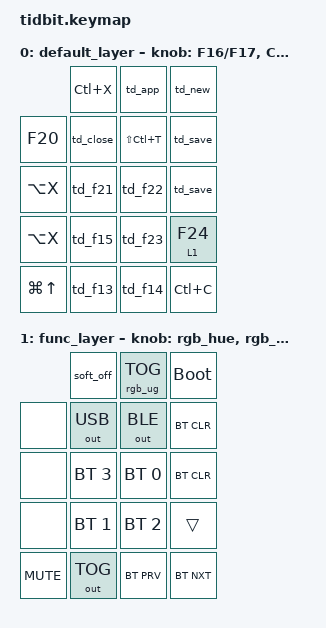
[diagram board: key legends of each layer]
/*
 * Copyright (c) 2020 The ZMK Contributors
 *
 * SPDX-License-Identifier: MIT
 */

#include <behaviors.dtsi>
#include <dt-bindings/zmk/bt.h>
#include <dt-bindings/zmk/keys.h>
#include <dt-bindings/zmk/outputs.h>
#include <dt-bindings/zmk/rgb.h>


/* Enable ONLY ONE of the &encoder_1 nodes. They are wired to the same pins.*/
&encoder_1 {
    status = "okay";
};

&encoder_2 {
    status = "okay";
};

&encoder_3 {
    status = "okay";
};

&encoder_4 {
    status = "okay";
};

/* Add any encoder(s) you have enabled to the sensors node, separated by spaces. */
&sensors {
    sensors = <&encoder_1 &encoder_2 &encoder_3 &encoder_4>;
};

/{
    behaviors {
        td_save: save {
            compatible = "zmk,behavior-tap-dance";
            #binding-cells = <0>;
            tapping-term-ms = <200>;
            bindings = <&kp LC(S)>, <&kp LC(LS(S))>, <&kp LC(LA(S))>;
        };

        td_new: new {
            compatible = "zmk,behavior-tap-dance";
            #binding-cells = <0>;
            tapping-term-ms = <200>;
            bindings = <&kp LC(N)>, <&kp LC(LS(N))>;
        };

        td_close: close {
            compatible = "zmk,behavior-tap-dance";
            #binding-cells = <0>;
            tapping-term-ms = <200>;
            bindings = <&kp LC(W)>, <&kp LA(F4)>;
        };

        td_f13: f13 {
            compatible = "zmk,behavior-tap-dance";
            #binding-cells = <0>;
            tapping-term-ms = <200>;
            bindings = <&kp F13>, <&kp LC(F13)>;
        };

        td_f14: f14 {
            compatible = "zmk,behavior-tap-dance";
            #binding-cells = <0>;
            tapping-term-ms = <200>;
            bindings = <&kp F14>, <&kp LC(F14)>;
        };

        td_f15: f15 {
            compatible = "zmk,behavior-tap-dance";
            #binding-cells = <0>;
            tapping-term-ms = <200>;
            bindings = <&kp F15>, <&kp LC(F15)>;
        };

        td_f21: f21 {
            compatible = "zmk,behavior-tap-dance";
            #binding-cells = <0>;
            tapping-term-ms = <200>;
            bindings = <&kp F21>, <&kp LC(F21)>;
        };

        td_f22: f22 {
            compatible = "zmk,behavior-tap-dance";
            #binding-cells = <0>;
            tapping-term-ms = <200>;
            bindings = <&kp F22>, <&kp LC(F22)>;
        };

        td_f23: f23 {
            compatible = "zmk,behavior-tap-dance";
            #binding-cells = <0>;
            tapping-term-ms = <200>;
            bindings = <&kp F23>, <&kp LC(F23)>;
        };

        td_f24: f24 {
            compatible = "zmk,behavior-tap-dance";
            #binding-cells = <0>;
            tapping-term-ms = <200>;
            bindings = <&kp F24>, <&kp LC(F24)>;
        };

        td_app: AppMenu {
            compatible = "zmk,behavior-tap-dance";
            #binding-cells = <0>;
            tapping-term-ms = <200>;
            bindings = <&kp LG(N)>, <&kp LG(LC(N))>, <&kp K_APP>;
        };

        rgb_bright: rgb_bright {
            compatible = "zmk,behavior-sensor-rotate";
            #sensor-binding-cells = <0>;
            bindings = <&rgb_ug RGB_BRI>, <&rgb_ug RGB_BRD>;
        };

        rgb_hue: rgb_hue {
            compatible = "zmk,behavior-sensor-rotate";
            #sensor-binding-cells = <0>;
            bindings = <&rgb_ug RGB_HUI>, <&rgb_ug RGB_HUD>;
        };

        rgb_sat: rgb_sat {
            compatible = "zmk,behavior-sensor-rotate";
            #sensor-binding-cells = <0>;
            bindings = <&rgb_ug RGB_SAI>, <&rgb_ug RGB_SAD>;
        };
    };

    keymap {
        compatible = "zmk,keymap";

        default_layer {
            bindings = <
                            &kp LC(X)       &td_app         &td_new
                &kp F20     &td_close       &kp LS(LC(T))   &td_save
                &kp LA(X)   &td_f21         &td_f22         &td_save
                &kp LA(X)   &td_f15         &td_f23         &lt 1 F24
                &kp LG(UP)  &td_f13         &td_f14         &kp LC(C)
            >;

            sensor-bindings = <&inc_dec_kp F16 F17 &inc_dec_kp LC(TAB) LS(LC(TAB)) &inc_dec_kp LC(GRAVE) LS(LC(GRAVE)) &inc_dec_kp LG(RIGHT) LG(LEFT)>;
        };

         func_layer {
             bindings = <
                                &soft_off       &rgb_ug RGB_TOG     &bootloader
                &none           &out OUT_USB    &out OUT_BLE        &bt BT_CLR
                &none           &bt BT_SEL 3    &bt BT_SEL 0        &bt BT_CLR
                &none           &bt BT_SEL 1    &bt BT_SEL 2        &trans
                &kp C_MUTE      &out OUT_TOG    &bt BT_PRV          &bt BT_NXT
             >;

             sensor-bindings = <&rgb_hue &rgb_sat &rgb_bright &inc_dec_kp C_VOLUME_DOWN C_VOLUME_UP>;
         };
    };
};

